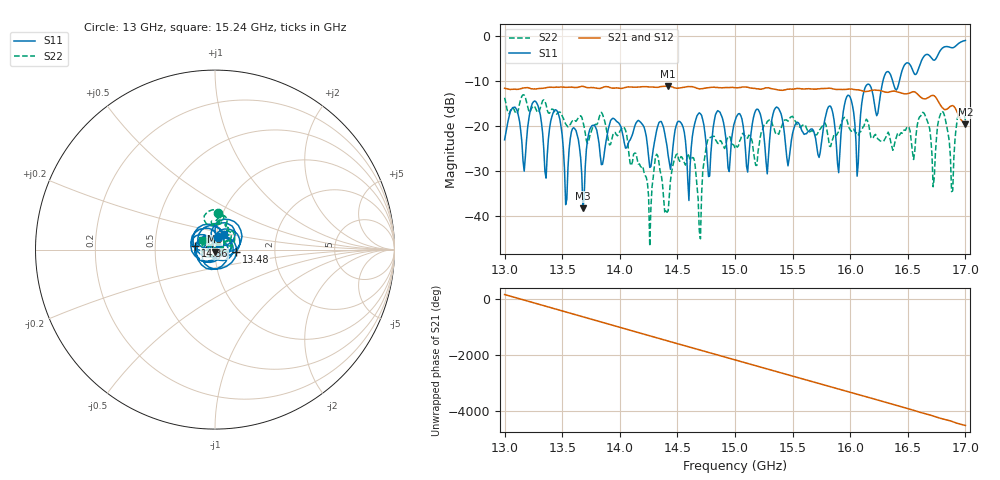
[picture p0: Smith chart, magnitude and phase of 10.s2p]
!Keysight Technologies,P9374A,MY57211807,A.19.30.04
!Date: Friday, May 01, 2026 14:47:51
!Correction: S11(C  2-Port  )
!S21(C  2-Port  )
!S12(C  2-Port  )
!S22(C  2-Port  )
!S2P File: Measurements: S11, S21, S12, S22:
# Hz S  RI  R 50
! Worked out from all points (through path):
!   401 points, 13 GHz to 17 GHz, reference 50 ohm
!   highest |S21| = -11.11 dB at 14.42 GHz (marker M1); lowest = -19.6 dB at 17 GHz (marker M2)
!   lowest |S11| = -38.3 dB at 13.68 GHz (marker M3), VSWR 1.02, Z = 49.8 - j1.19 ohm
!   |S11| at or under -10 dB: start of sweep to 16.28 GHz; 16.36884 GHz to 16.4268 GHz (57.96 MHz wide, 0.353 % of centre)
!   |S22| runs from -46.7 to -13.1 dB; largest |S21 - S12| = 0.0079
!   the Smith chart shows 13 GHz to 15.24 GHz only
!   S11 on the Smith chart (normalised r, x): 13 GHz: 1.03, +0.14; 13.48 GHz: 1.27, -0.03; 14.36 GHz: 0.80, +0.03; 15.24 GHz: 1.09, +0.19
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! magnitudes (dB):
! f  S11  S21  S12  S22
! 13 GHz  -23.1  -11.6  -11.6  -13.7
! 13.48 GHz  -18.6  -11.3  -11.3  -16.9
! 13.67 GHz  -30.8  -11.2  -11.2  -18.0
! 13.68 GHz  -38.3  -11.2  -11.2  -19.0
! 13.76 GHz  -19.9  -11.5  -11.5  -20.7
! 14.04 GHz  -23.9  -11.5  -11.5  -20.4
! 14.26 GHz  -29.2  -11.3  -11.3  -46.7
! 14.34 GHz  -19.2  -11.3  -11.3  -28.2
! 14.36 GHz  -19.0  -11.2  -11.2  -31.0
! 14.42 GHz  -26.6  -11.1  -11.1  -38.9
! 15 GHz  -18.9  -11.5  -11.5  -25.0
! 15.24 GHz  -19.9  -11.7  -11.7  -20.8
! 15.67 GHz  -20.7  -11.8  -11.8  -21.0
! 15.9 GHz  -30.4  -11.9  -11.9  -21.2
! 15.99 GHz  -13.2  -11.8  -11.8  -20.4
! 16.06 GHz  -31.2  -12.0  -12.0  -21.6
! 16.34 GHz  -8.1  -12.4  -12.4  -22.1
! 16.64 GHz  -4.5  -14.0  -14.0  -17.1
! 16.72 GHz  -5.3  -13.2  -13.2  -33.5
! 16.8 GHz  -2.7  -16.0  -15.9  -16.7
! 16.88 GHz  -2.6  -15.5  -15.5  -34.6
! 17 GHz  -1.0  -19.6  -19.6  -18.7
